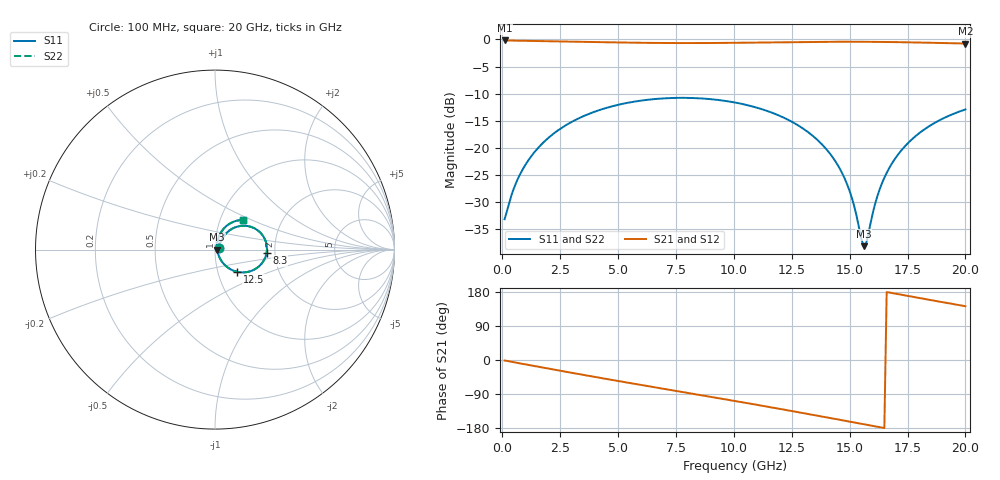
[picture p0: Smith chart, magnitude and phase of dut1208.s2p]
! Touchstone file exported from HFSS 2026.1.0
!  File:  C:/ffzhzh/LocalFiles/Ansys_Project_Files/temp_train_TSV_RDL_1208_1783319645_5512.aedt
!  Generated:  02:43:03 PM Jul  6, 2026
!  Design:  TSV_RDL
!  Project:  temp_train_TSV_RDL_1208_1783319645_5512
! Variables:
!  h_bsmrdl = 2.36um
!  h_ox = 20um
!  h_rdl = 5um
!  h_sub = 84.74um
!  h_tmrdl = 2.43um
!  h_tsv = 84.74um
!  h_via = 3um
!  l_bsmrdl = 235.1um
!  l_sub = 3326.02um
!  l_tmrdl = 525.33um
!  m_sub = 200um
!  pitch = 38.83um
!  r_tsv = 13.26um
!  s_tmrdl = 10um
!  w_bsmrdl = 13.93um
!  w_sub = 500um
!  w_tmrdl = 25.87um
!  x_tsv_center1 = 538.265um
!  x_tsv_center2 = 787.295um
!  x_tsv_center3 = 1338.495um
!  x_tsv_center4 = 1587.525um
!  x_tsv_center5 = 2138.725um
!  x_tsv_center6 = 2387.755um
# GHz S MA R 50.000000
! Terminal data exported
! Port[1] = TM_RDL1_1_T1
! Port[2] = TM_RDL5_1_T1
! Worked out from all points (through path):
!   200 points, 100 MHz to 20 GHz, reference 50 ohm
!   highest |S21| = -0.18 dB at 100 MHz (marker M1); lowest = -0.7 dB at 20 GHz (marker M2)
!   group delay of S21, straight-line fit = 30.1 ps
!   lowest |S11| = -38.1 dB at 15.6 GHz (marker M3), VSWR 1.03, Z = 51.3 - j0.066 ohm
!   |S11| at or under -10 dB: start of sweep to end of sweep
!   |S22| runs from -37.9 to -10.8 dB; largest |S21 - S12| = 2.7e-14
!   S11 on the Smith chart (normalised r, x): 100 MHz: 1.04, +0.02; 8.3 GHz: 1.81, -0.07; 12.5 GHz: 1.24, -0.32; 20 GHz: 1.28, +0.45
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0.1  0.02199 19.4  0.9794 -1.2  0.9794 -1.2  0.02199 19.4
! Gamma 0 0 0 0
! Port Impedance 50 0 50 0
0.6  0.04786 51.8  0.9741 -7.1  0.9741 -7.1  0.04786 51.8
1.3  0.08649 56.7  0.9687 -15.0  0.9687 -15.0  0.08649 56.7
2.3  0.1397 52.1  0.9615 -26.1  0.9615 -26.1  0.1397 52.1
3.5  0.196 42.4  0.9513 -39.3  0.9513 -39.3  0.196 42.4
5.1  0.2524 27.5  0.9379 -56.5  0.9379 -56.5  0.2524 27.5
6.8  0.2847 11.0  0.9284 -74.3  0.9284 -74.3  0.2847 11.1
8.3  0.2881 -3.6  0.9264 -89.9  0.9264 -89.9  0.2881 -3.6
10.1  0.2609 -21.4  0.9319 -108.7  0.9319 -108.7  0.2608 -21.4
12.5  0.1745 -45.1  0.946 -134.6  0.946 -134.6  0.1744 -45.0
13.4  0.1296 -53.4  0.9504 -144.6  0.9504 -144.6  0.1296 -53.3
14.2  0.08576 -59.4  0.9528 -153.6  0.9528 -153.6  0.08576 -59.2
14.8  0.05145 -60.4  0.9534 -160.4  0.9534 -160.4  0.05147 -60.0
15.2  0.02889 -53.5  0.9532 -164.9  0.9532 -164.9  0.02897 -52.9
15.6  0.01241 -3.0  0.9524 -169.4  0.9524 -169.4  0.01272 -2.5
15.7  0.01281 23.5  0.9521 -170.5  0.9521 -170.5  0.01313 23.3
16.2  0.03596 70.6  0.9502 -176.2  0.9502 -176.2  0.03613 70.2
16.7  0.06455 74.1  0.9474 178.2  0.9474 178.2  0.06467 73.8
17.3  0.09858 71.4  0.9432 171.4  0.9432 171.4  0.09869 71.2
18  0.1364 65.8  0.9373 163.7  0.9373 163.7  0.1365 65.7
18.9  0.1807 57.6  0.9286 153.8  0.9286 153.8  0.1808 57.4
20  0.2263 46.9  0.9177 141.9  0.9177 141.9  0.2263 46.8
